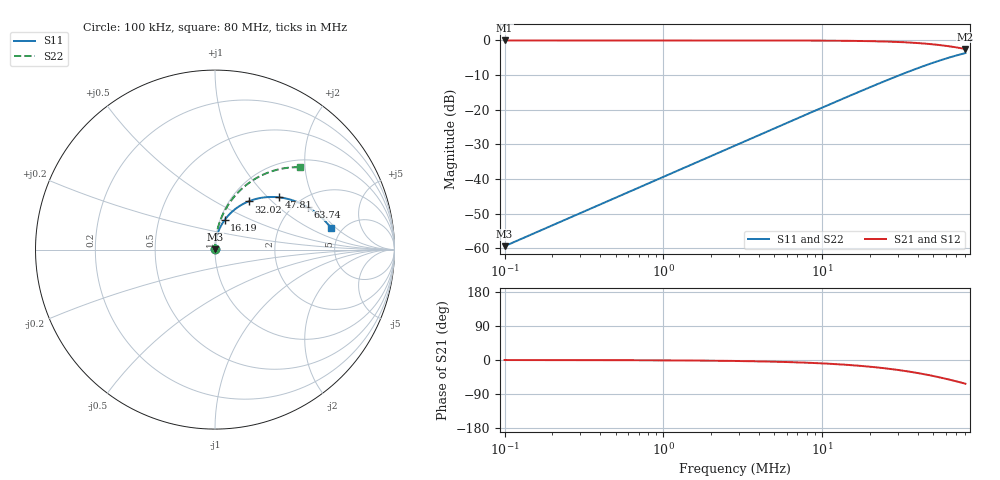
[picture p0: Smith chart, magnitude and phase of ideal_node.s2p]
! TOUCHSTONE file generated by CST DESIGN STUDIO
! Date and time: Wed Feb 25 16:05:46 2026
! Project name: C:\sim_local\10base-t1m\ideal_node.cst
! Tree item: Tasks\SPara1\S-Parameters
! Header version: 2024
! Port assignment regex: !\s*Touchstone port\s*([0-9]+)\s*=\s*(CST MWS port|CST DES external port|CST DES block port)\s*(.+)\s* \(\"(.*)\"\)(\s*mode\s*([0-9]+))?.*
! Touchstone port assignment:
! Touchstone port 1 = CST DES external port 1 ("")
! Touchstone port 2 = CST DES external port 2 ("")
# MHz S MA R 50
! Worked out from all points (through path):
!   1001 points, 100 kHz to 80 MHz, reference 50 ohm
!   highest |S21| = 0.00 dB at 100 kHz (marker M1); lowest = -2.5 dB at 80 MHz (marker M2)
!   group delay of S21, straight-line fit = 2.29 ns
!   lowest |S11| = -59.3 dB at 100 kHz (marker M3), VSWR 1.00, Z = 50 + j0.108 ohm
!   |S11| at or under -10 dB: start of sweep to 30.82 MHz
!   |S22| runs from -59.3 to -3.6 dB; largest |S21 - S12| = 0
!   S11 on the Smith chart (normalised r, x): 100 kHz: 1.00, +0.00; 16.19 MHz: 1.05, +0.35; 32.02 MHz: 1.22, +0.73; 47.81 MHz: 1.58, +1.17; 63.74 MHz: 2.35, +1.64; 80 MHz: 4.07, +1.73
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0.1  0.001079 89.9  1 -0.1  1 -0.1  0.001079 89.9
0.1033988  0.001116 89.9  1 -0.1  1 -0.1  0.001116 89.9
0.3053627  0.003296 89.7  1 -0.3  1 -0.3  0.003296 89.8
0.932464  0.01006 89.0  0.9999 -0.8  0.9999 -0.8  0.01006 89.4
1.71322  0.01849 88.1  0.9998 -1.5  0.9998 -1.5  0.01849 88.8
2.847397  0.03072 86.8  0.9995 -2.5  0.9995 -2.5  0.03072 88.1
5.196682  0.05601 84.2  0.9984 -4.6  0.9984 -4.6  0.05601 86.5
6.744452  0.07261 82.5  0.9974 -6.0  0.9974 -6.0  0.07261 85.5
8.636962  0.09284 80.4  0.9957 -7.7  0.9957 -7.7  0.09284 84.2
11.98429  0.1283 76.7  0.9917 -10.7  0.9917 -10.7  0.1283 82.0
16.19017  0.1722 72.1  0.9851 -14.4  0.9851 -14.4  0.1722 79.2
21.01222  0.2214 66.8  0.9752 -18.5  0.9752 -18.5  0.2214 76.1
26.37406  0.2742 61.1  0.9617 -23.1  0.9617 -23.1  0.2742 72.6
32.01597  0.3273 55.2  0.9449 -27.9  0.9449 -27.9  0.3273 69.1
39.38787  0.3923 47.6  0.9198 -33.8  0.9198 -33.8  0.3923 64.7
43.54204  0.4267 43.4  0.9044 -37.1  0.9044 -37.1  0.4267 62.3
47.81367  0.4603 39.2  0.8878 -40.4  0.8878 -40.4  0.4603 59.9
55.38856  0.5154 32.0  0.8569 -46.1  0.8569 -46.1  0.5154 55.9
63.73602  0.5697 24.4  0.8218 -52.0  0.8218 -52.0  0.5697 51.7
69.98874  0.6062 18.9  0.7953 -56.2  0.7953 -56.2  0.6062 48.7
77.37035  0.6449 12.7  0.7643 -61.0  0.7643 -61.0  0.6449 45.4
80  0.6576 10.6  0.7534 -62.6  0.7534 -62.6  0.6576 44.3
